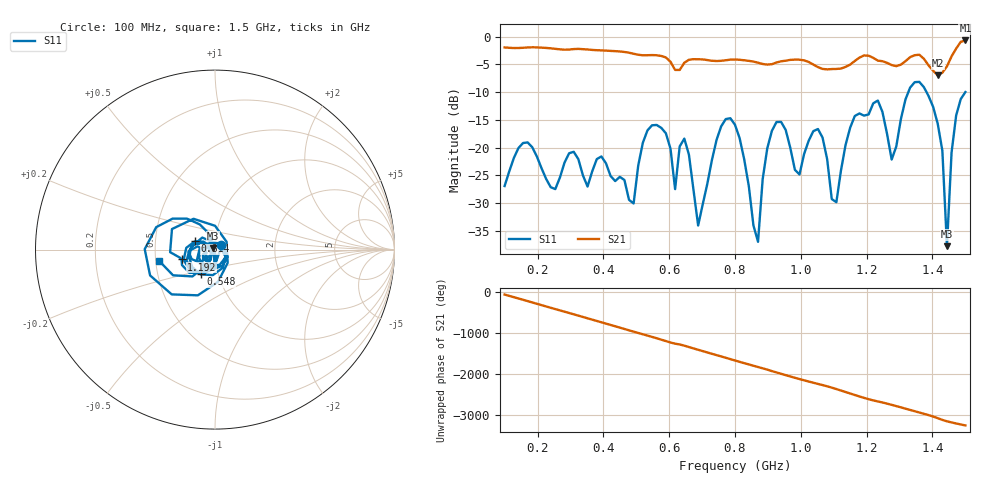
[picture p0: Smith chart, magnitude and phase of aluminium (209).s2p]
! NanoVNA-App
! Date: 2025-09-25 14:56:54
! Start: 100MHz Stop: 1,5GHz Points: 101
! S-Parameter data: F S11 S21 S12 S22
# Hz S RI R 50
!  Frequency  S11_Real  S11_Imag  S21_Real  S21_Imag  S12_Real  S12_Imag  S22_Real  S22_Imag
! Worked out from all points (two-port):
!   101 points, 100 MHz to 1.5 GHz, reference 50 ohm
!   highest |S21| = -0.66 dB at 1.5 GHz (marker M1); lowest = -7.0 dB at 1.416 GHz (marker M2)
!   |S21| within 3 dB of the highest: start of sweep to 586.3 MHz; 1.457 GHz to end of sweep (the widest 2 of 4)
!   lowest |S11| = -37.8 dB at 1.444 GHz (marker M3), VSWR 1.03, Z = 49 + j0.836 ohm
!   |S11| at or under -10 dB: start of sweep to 1.327 GHz; 1.382 GHz to 1.5 GHz (117.8 MHz wide, 8.18 % of centre)
!   S12 and S22 are empty: the file has one direction only
!   S11 on the Smith chart (normalised r, x): 100 MHz: 1.07, +0.06; 548 MHz: 0.82, -0.23; 814 MHz: 0.79, +0.07; 1.192 GHz: 0.68, -0.08; 1.5 GHz: 0.52, -0.07
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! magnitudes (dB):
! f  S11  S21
! 100 MHz  -27.0  -1.9
! 338 MHz  -25.0  -2.2
! 492 MHz  -30.1  -3.1
! 548 MHz  -16.0  -3.3
! 576 MHz  -16.4  -3.5
! 618 MHz  -27.5  -6.0
! 646 MHz  -18.4  -4.7
! 688 MHz  -34.1  -4.1
! 800 MHz  -15.9  -4.1
! 814 MHz  -18.3  -4.2
! 870 MHz  -37.0  -4.7
! 912 MHz  -17.0  -5.0
! 996 MHz  -24.9  -4.1
! 1.038 GHz  -17.0  -5.0
! 1.108 GHz  -29.9  -5.8
! 1.192 GHz  -14.2  -3.4
! 1.276 GHz  -22.2  -5.1
! 1.346 GHz  -8.2  -3.3
! 1.416 GHz  -15.7  -7.0
! 1.444 GHz  -37.8  -5.3
! 1.458 GHz  -20.9  -3.5
! 1.5 GHz  -10.0  -0.7
